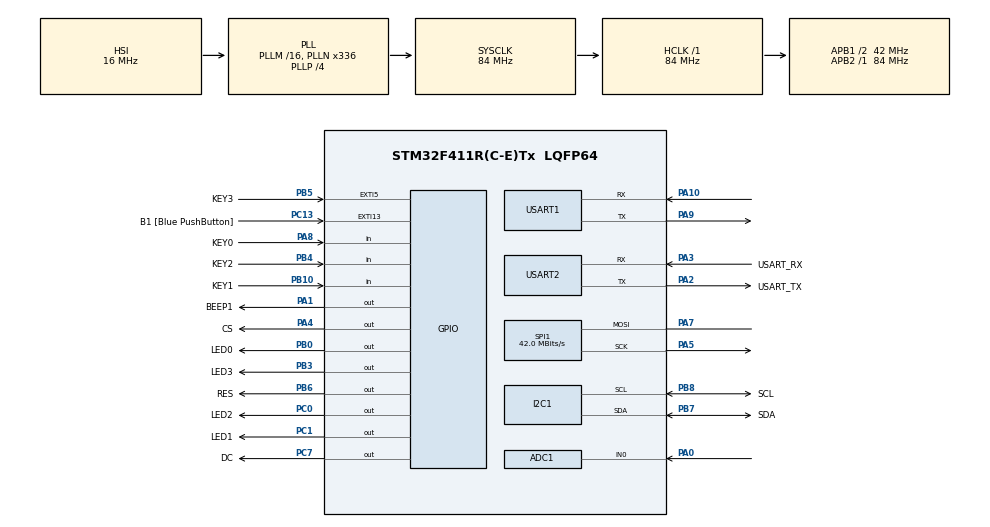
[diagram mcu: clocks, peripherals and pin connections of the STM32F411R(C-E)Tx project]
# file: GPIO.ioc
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ADC1.Channel-0\#ChannelRegularConversion=ADC_CHANNEL_0
ADC1.ContinuousConvMode=ENABLE
ADC1.DMAContinuousRequests=ENABLE
ADC1.NbrOfConversion=1
ADC1.NbrOfConversionFlag=1
ADC1.Rank-0\#ChannelRegularConversion=1
ADC1.SamplingTime-0\#ChannelRegularConversion=ADC_SAMPLETIME_3CYCLES
ADC1.ScanConvMode=ENABLE
ADC1.master=1
Dma.ADC1.0.Direction=DMA_PERIPH_TO_MEMORY
Dma.ADC1.0.FIFOMode=DMA_FIFOMODE_DISABLE
Dma.ADC1.0.Instance=DMA2_Stream0
Dma.ADC1.0.MemDataAlignment=DMA_MDATAALIGN_WORD
Dma.ADC1.0.MemInc=DMA_MINC_ENABLE
Dma.ADC1.0.Mode=DMA_CIRCULAR
Dma.ADC1.0.PeriphDataAlignment=DMA_PDATAALIGN_WORD
Dma.ADC1.0.PeriphInc=DMA_PINC_DISABLE
Dma.ADC1.0.Priority=DMA_PRIORITY_LOW
Dma.Request0=ADC1
Mcu.Family=STM32F4
Mcu.Name=STM32F411R(C-E)Tx
Mcu.Package=LQFP64
NVIC.DMA2_Stream0_IRQn=true\:0\:0\:false\:false\:true\:false\:true\:true
NVIC.PriorityGroup=NVIC_PRIORITYGROUP_0
PA0-WKUP.Signal=ADCx_IN0
PA1.GPIO_Label=BEEP1
PA1.GPIO_PuPd=GPIO_PULLUP
PA1.Signal=GPIO_Output
PA10.Mode=Asynchronous
PA10.Signal=USART1_RX
PA13.GPIO_Label=TMS
PA13.Mode=Serial_Wire
PA13.Signal=SYS_JTMS-SWDIO
PA14.GPIO_Label=TCK
PA14.Mode=Serial_Wire
PA14.Signal=SYS_JTCK-SWCLK
PA2.GPIO_Label=USART_TX
PA2.Mode=Asynchronous
PA2.Signal=USART2_TX
PA3.GPIO_Label=USART_RX
PA3.Mode=Asynchronous
PA3.Signal=USART2_RX
PA4.GPIO_Label=CS
PA4.GPIO_Speed=GPIO_SPEED_FREQ_VERY_HIGH
PA4.Signal=GPIO_Output
PA5.Mode=Simplex_Bidirectional_Master
PA5.Signal=SPI1_SCK
PA7.Mode=Simplex_Bidirectional_Master
PA7.Signal=SPI1_MOSI
PA8.GPIO_Label=KEY0
PA8.GPIO_PuPd=GPIO_PULLUP
PA8.Signal=GPIO_Input
PA9.Mode=Asynchronous
PA9.Signal=USART1_TX
PB0.GPIO_Label=LED0
PB0.GPIO_PuPd=GPIO_PULLUP
PB0.Signal=GPIO_Output
PB10.GPIO_Label=KEY1
PB10.GPIO_PuPd=GPIO_PULLUP
PB10.Signal=GPIO_Input
PB3.GPIO_Label=LED3
PB3.GPIO_PuPd=GPIO_PULLUP
PB3.Signal=GPIO_Output
PB4.GPIO_Label=KEY2
PB4.GPIO_PuPd=GPIO_PULLUP
PB4.Signal=GPIO_Input
PB5.GPIO_Label=KEY3
PB5.GPIO_PuPd=GPIO_PULLUP
PB5.Signal=GPXTI5
PB6.GPIO_Label=RES
PB6.GPIO_Speed=GPIO_SPEED_FREQ_VERY_HIGH
PB6.Signal=GPIO_Output
PB7.GPIO_Label=SDA
PB7.Mode=I2C
PB7.Signal=I2C1_SDA
PB8.GPIO_Label=SCL
PB8.Mode=I2C
PB8.Signal=I2C1_SCL
PC0.GPIO_Label=LED2
PC0.GPIO_PuPd=GPIO_PULLUP
PC0.Signal=GPIO_Output
PC1.GPIO_Label=LED1
PC1.GPIO_PuPd=GPIO_PULLUP
PC1.Signal=GPIO_Output
PC13-ANTI_TAMP.GPIO_Label=B1 [Blue PushButton]
PC13-ANTI_TAMP.GPIO_ModeDefaultEXTI=GPIO_MODE_IT_FALLING
PC13-ANTI_TAMP.Signal=GPXTI13
PC14-OSC32_IN.Mode=LSE-External-Oscillator
PC14-OSC32_IN.Signal=RCC_OSC32_IN
PC15-OSC32_OUT.Mode=LSE-External-Oscillator
PC15-OSC32_OUT.Signal=RCC_OSC32_OUT
PC7.GPIO_Label=DC
PC7.GPIO_Speed=GPIO_SPEED_FREQ_VERY_HIGH
PC7.Signal=GPIO_Output
PH0\ -\ OSC_IN.Mode=HSE-External-Clock-Source
PH0\ -\ OSC_IN.Signal=RCC_OSC_IN
PH1\ -\ OSC_OUT.Mode=HSE-External-Clock-Source
PH1\ -\ OSC_OUT.Signal=RCC_OSC_OUT
ProjectManager.HeapSize=0x200
ProjectManager.StackSize=0x400
ProjectManager.TargetToolchain=MDK-ARM V5.32
RCC.48MHZClocksFreq_Value=84000000
RCC.AHBFreq_Value=84000000
RCC.APB1CLKDivider=RCC_HCLK_DIV2
RCC.APB1Freq_Value=42000000
RCC.APB1TimFreq_Value=84000000
RCC.APB2Freq_Value=84000000
RCC.APB2TimFreq_Value=84000000
RCC.CortexFreq_Value=84000000
RCC.FLatency-AdvancedSettings=FLASH_LATENCY_2
RCC.HCLKFreq_Value=84000000
RCC.HSE_VALUE=8000000
RCC.HSI_VALUE=16000000
RCC.PLLN=336
RCC.PLLP=RCC_PLLP_DIV4
RCC.SYSCLKFreq_VALUE=84000000
RCC.SYSCLKSource=RCC_SYSCLKSOURCE_PLLCLK
RCC.VCOOutputFreq_Value=336000000
SH.ADCx_IN0.0=ADC1_IN0,IN0
SPI1.CalculateBaudRate=42.0 MBits/s
SPI1.Direction=SPI_DIRECTION_1LINE
SPI1.Mode=SPI_MODE_MASTER
SPI1.VirtualType=VM_MASTER
USART1.VirtualMode=VM_ASYNC
USART2.VirtualMode=VM_ASYNC
board=NUCLEO-F411RE

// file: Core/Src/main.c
/* USER CODE BEGIN Header */
/**
  ******************************************************************************
  * @file           : main.c
  * @brief          : Main program body
  ******************************************************************************
  * @attention
  *
  * Copyright (c) 2023 STMicroelectronics.
  * All rights reserved.
  *
  * This software is licensed under terms that can be found in the LICENSE file
  * in the root directory of this software component.
  * If no LICENSE file comes with this software, it is provided AS-IS.
  *
  ******************************************************************************
  */
/* USER CODE END Header */
#include "main.h"
#include "adc.h"
#include "dma.h"
#include "i2c.h"
#include "spi.h"
#include "usart.h"
#include "gpio.h"

/* USER CODE BEGIN Includes */
#include "bsp_device.h"
/* USER CODE END Includes */

/* USER CODE BEGIN PD */

// 设备状态定义
#define L2R_LED 1
#define R2L_LED 2
#define BEEP 	3
#define OFF_ALL 4

/* USER CODE END PD */

/* USER CODE BEGIN PV */
int8_t device_state = 0;
uint32_t led_cnt = 0;
/* USER CODE END PV */

void SystemClock_Config(void);

int main(void)
{

  /* MCU Configuration--------------------------------------------------------*/

  /* Reset of all peripherals, Initializes the Flash interface and the Systick. */
  HAL_Init();

  /* Configure the system clock */
  SystemClock_Config();

  /* Initialize all configured peripherals */
  MX_GPIO_Init();
  MX_DMA_Init();
  MX_USART2_UART_Init();
  MX_SPI1_Init();
  MX_USART1_UART_Init();
  MX_ADC1_Init();
  MX_I2C1_Init();

  /* Infinite loop */
  /* USER CODE BEGIN WHILE */
  while (1)
  {
	  key_scan();
    /* USER CODE END WHILE */

  }
}

void SystemClock_Config(void)
{
  RCC_OscInitTypeDef RCC_OscInitStruct = {0};
  RCC_ClkInitTypeDef RCC_ClkInitStruct = {0};

  /** Configure the main internal regulator output voltage
  */
  __HAL_RCC_PWR_CLK_ENABLE();
  __HAL_PWR_VOLTAGESCALING_CONFIG(PWR_REGULATOR_VOLTAGE_SCALE1);

  /** Initializes the RCC Oscillators according to the specified parameters
  * in the RCC_OscInitTypeDef structure.
  */
  RCC_OscInitStruct.OscillatorType = RCC_OSCILLATORTYPE_HSI;
  RCC_OscInitStruct.HSIState = RCC_HSI_ON;
  RCC_OscInitStruct.HSICalibrationValue = RCC_HSICALIBRATION_DEFAULT;
  RCC_OscInitStruct.PLL.PLLState = RCC_PLL_ON;
  RCC_OscInitStruct.PLL.PLLSource = RCC_PLLSOURCE_HSI;
  RCC_OscInitStruct.PLL.PLLM = 16;
  RCC_OscInitStruct.PLL.PLLN = 336;
  RCC_OscInitStruct.PLL.PLLP = RCC_PLLP_DIV4;
  RCC_OscInitStruct.PLL.PLLQ = 4;
  if (HAL_RCC_OscConfig(&RCC_OscInitStruct) != HAL_OK)
  {
    Error_Handler();
  }

  /** Initializes the CPU, AHB and APB buses clocks
  */
  RCC_ClkInitStruct.ClockType = RCC_CLOCKTYPE_HCLK|RCC_CLOCKTYPE_SYSCLK
                              |RCC_CLOCKTYPE_PCLK1|RCC_CLOCKTYPE_PCLK2;
  RCC_ClkInitStruct.SYSCLKSource = RCC_SYSCLKSOURCE_PLLCLK;
  RCC_ClkInitStruct.AHBCLKDivider = RCC_SYSCLK_DIV1;
  RCC_ClkInitStruct.APB1CLKDivider = RCC_HCLK_DIV2;
  RCC_ClkInitStruct.APB2CLKDivider = RCC_HCLK_DIV1;

  if (HAL_RCC_ClockConfig(&RCC_ClkInitStruct, FLASH_LATENCY_2) != HAL_OK)
  {
    Error_Handler();
  }
}

/* USER CODE BEGIN 4 */
void HAL_SYSTICK_Callback()
{
	if(device_state == L2R_LED || device_state == R2L_LED)
	{
		water_led(device_state);
	}
	else if(device_state == BEEP)
		turn_on_beep();
	else if(device_state == OFF_ALL)
		turn_off_all();
}
/* USER CODE END 4 */

void Error_Handler(void)
{
  __disable_irq();
  while (1)
  {
  }
}
